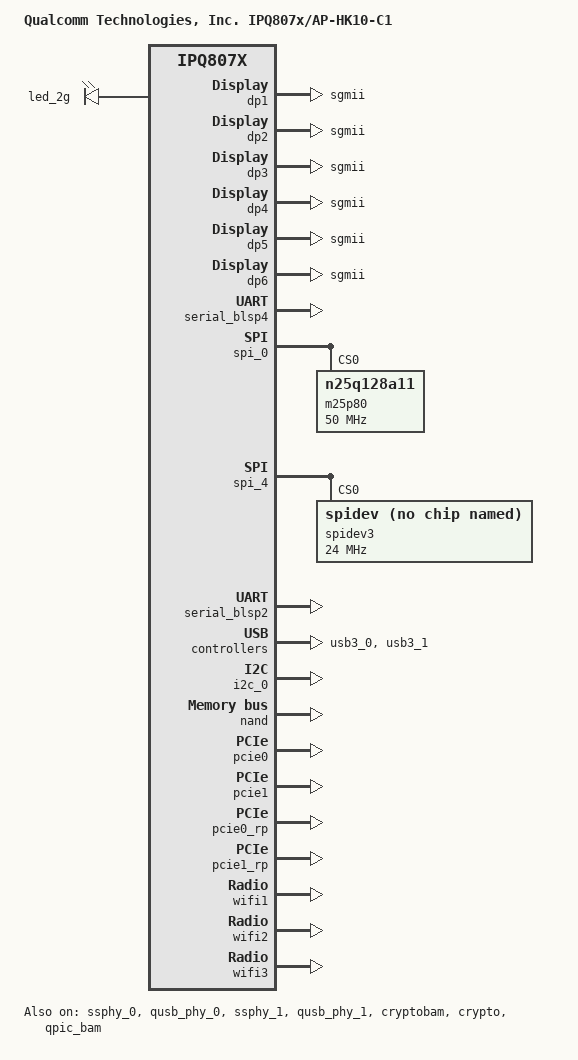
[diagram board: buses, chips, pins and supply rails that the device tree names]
/dts-v1/;
/*
 * Copyright (c) 2017-2020, The Linux Foundation. All rights reserved.
 *
 * Permission to use, copy, modify, and/or distribute this software for any
 * purpose with or without fee is hereby granted, provided that the above
 * copyright notice and this permission notice appear in all copies.
 *
 * THE SOFTWARE IS PROVIDED "AS IS" AND THE AUTHOR DISCLAIMS ALL WARRANTIES
 * WITH REGARD TO THIS SOFTWARE INCLUDING ALL IMPLIED WARRANTIES OF
 * MERCHANTABILITY AND FITNESS. IN NO EVENT SHALL THE AUTHOR BE LIABLE FOR
 * ANY SPECIAL, DIRECT, INDIRECT, OR CONSEQUENTIAL DAMAGES OR ANY DAMAGES
 * WHATSOEVER RESULTING FROM LOSS OF USE, DATA OR PROFITS, WHETHER IN AN
 * ACTION OF CONTRACT, NEGLIGENCE OR OTHER TORTIOUS ACTION, ARISING OUT OF
 * OR IN CONNECTION WITH THE USE OR PERFORMANCE OF THIS SOFTWARE.
 */
#include "qcom-ipq807x-soc.dtsi"
#include "qcom-ipq807x-hk-cpu.dtsi"

/ {
	#address-cells = <0x2>;
	#size-cells = <0x2>;
	model = "Qualcomm Technologies, Inc. IPQ807x/AP-HK10-C1";
	compatible = "qcom,ipq807x-hk10", "qcom,ipq807x";
	qcom,msm-id = <0x185 0x0>;
	interrupt-parent = <&intc>;
	qcom,board-id = <0x8 0x0>;
	qcom,pmic-id = <0x0 0x0 0x0 0x0>;

	aliases {
		/*
		 * Aliases as required by u-boot
		 * to patch MAC addresses
		 */
		ethernet0 = "/soc/dp1";
		ethernet1 = "/soc/dp2";
		ethernet2 = "/soc/dp3";
		ethernet3 = "/soc/dp4";
		ethernet4 = "/soc/dp5";
		ethernet5 = "/soc/dp6";
	};

	chosen {
		bootargs = "console=ttyMSM0,115200,n8 root=/dev/ram0 rw \
			init=/init";
		#ifdef __IPQ_MEM_PROFILE_256_MB__
			bootargs-append = " swiotlb=1";
		#else
			bootargs-append = " swiotlb=1 coherent_pool=2M";
		#endif
	};

	reserved-memory {
/* No Pine attach in 256M profile */
#if !defined(__IPQ_MEM_PROFILE_256_MB__)
#ifdef __IPQ_MEM_PROFILE_512_MB__
	/*                      512 MB Profile
	 * +========+==============+=========================+
	 * | Region | Start Offset |          Size           |
	 * +--------+--------------+-------------------------+
	 * |  NSS   |  0x40000000  |          16MB           |
	 * +--------+--------------+-------------------------+
	 * | Linux  |  0x41000000  | Depends on total memory |
	 * +--------+--------------+-------------------------+
	 * | TZ APP |  0x4A400000  |           1MB           |
	 * +--------+--------------+-------------------------+
	 * | uboot  |  0x4A600000  |           4MB           |
	 * +--------+--------------+-------------------------+
	 * |  SBL   |  0x4AA00000  |           1MB           |
	 * +--------+--------------+-------------------------+
	 * |  smem  |  0x4AB00000  |           1MB           |
	 * +--------+--------------+-------------------------+
	 * |   TZ   |  0x4AC00000  |           4MB           |
	 * +--------+--------------+-------------------------+
	 * |   Q6   |  0x4B000000  |          55MB           |
	 * +--------+--------------+-------------------------+
	 * |  QDSS  |  0x4E700000  |           1MB           |
	 * +--------+--------------+-------------------------+
	 * | M3 Dump|  0x4E800000  |           1MB           |
	 * +--------+--------------+-------------------------+
	 * |  Pine0 |  0x4E900000  |          30MB           |
	 * +--------+--------------+-------------------------+
	 * |  Pine1 |  0x50700000  |          30MB           |
	 * +--------+--------------+-------------------------+
	 * |  MHI0  |  0x52500000  |          16MB           |
	 * +--------+--------------+-------------------------+
	 * |  MHI1  |  0x53500000  |          16MB           |
	 * +--------+--------------+-------------------------+
	 * |                                                 |
	 * |          Rest of the memory for Linux           |
	 * |                                                 |
	 * +=================================================+
	 */
		/delete-node/ wifi_dump@4e900000;
		qcn9000_pcie0@4e900000 {
			no-map;
			reg = <0x0 0x4E900000 0x0 0x01E00000>;
		};

		qcn9000_pcie1@50700000 {
			no-map;
			reg = <0x0 0x50700000 0x0 0x01E00000>;
		};

		mhi_region0: dma_pool0@52500000 {
			compatible = "shared-dma-pool";
			no-map;
			reg = <0x0 0x52500000 0x0 0x01000000>;
		};

		mhi_region1: dma_pool1@53500000 {
			compatible = "shared-dma-pool";
			no-map;
			reg = <0x0 0x53500000 0x0 0x01000000>;
		};
#else
	/*                   Default Profile
	 * +========+==============+=========================+
	 * | Region | Start Offset |          Size           |
	 * +--------+--------------+-------------------------+
	 * |  NSS   |  0x40000000  |          16MB           |
	 * +--------+--------------+-------------------------+
	 * | Linux  |  0x41000000  | Depends on total memory |
	 * +--------+--------------+-------------------------+
	 * | TZ APP |  0x4A400000  |           2MB           |
	 * +--------+--------------+-------------------------+
	 * | uboot  |  0x4A600000  |           4MB           |
	 * +--------+--------------+-------------------------+
	 * |  SBL   |  0x4AA00000  |           1MB           |
	 * +--------+--------------+-------------------------+
	 * |  smem  |  0x4AB00000  |           1MB           |
	 * +--------+--------------+-------------------------+
	 * |   TZ   |  0x4AC00000  |           4MB           |
	 * +--------+--------------+-------------------------+
	 * |   Q6   |  0x4B000000  |          95MB           |
	 * +--------+--------------+-------------------------+
	 * |  QDSS  |  0x50F00000  |           1MB           |
	 * +--------+--------------+-------------------------+
	 * | M3 Dump|  0x51000000  |           1MB           |
	 * +--------+--------------+-------------------------+
	 * |  Pine0 |  0x51100000  |          45MB           |
	 * +--------+--------------+-------------------------+
	 * |  Pine1 |  0x53E00000  |          45MB           |
	 * +--------+--------------+-------------------------+
	 * |  MHI0  |  0x56B00000  |          24MB           |
	 * +--------+--------------+-------------------------+
	 * |  MHI1  |  0x58300000  |          24MB           |
	 * +--------+--------------+-------------------------+
	 * |                                                 |
	 * |          Rest of the memory for Linux           |
	 * |                                                 |
	 * +=================================================+
	 */
		qcn9000_pcie0@51100000 {
			no-map;
			reg = <0x0 0x51100000 0x0 0x02D00000>;
		};

		qcn9000_pcie1@53e00000 {
			no-map;
			reg = <0x0 0x53E00000 0x0 0x02D00000>;
		};
		/delete-node/ wifi_dump@51100000;
		/delete-node/ wigig_dump@51300000;

		mhi_region0: dma_pool0@56b00000 {
			compatible = "shared-dma-pool";
			no-map;
			reg = <0x0 0x56B00000 0x0 0x01800000>;
		};

		mhi_region1: dma_pool1@58300000 {
			compatible = "shared-dma-pool";
			no-map;
			reg = <0x0 0x58300000 0x0 0x01800000>;
		};
#endif
#endif
	};
};

&tlmm {
	pinctrl-0 = <&btcoex_pins>;
	pinctrl-names = "default";

	btcoex_pins: btcoex_pins {
		mux_0 {
			pins = "gpio64";
			function = "pta1_1";
			drive-strength = <6>;
			bias-pull-down;
		};
		mux_1 {
			pins = "gpio65";
			function = "pta1_2";
			drive-strength = <6>;
			bias-pull-down;
		};
		mux_2 {
			pins = "gpio66";
			function = "pta1_0";
			drive-strength = <6>;
			bias-pull-down;
		};
	};

	mdio_pins: mdio_pinmux {
		mux_0 {
			pins = "gpio68";
			function = "mdc";
			drive-strength = <8>;
			bias-pull-up;
		};
		mux_1 {
			pins = "gpio69";
			function = "mdio";
			drive-strength = <8>;
			bias-pull-up;
		};
		mux_2 {
			pins = "gpio25";
			function = "gpio";
			bias-pull-up;
		};
		mux_3 {
			pins = "gpio44";
			function = "gpio";
			bias-pull-up;
		};
	};

	uart_pins: uart_pins {
		mux {
			pins = "gpio23", "gpio24";
			function = "blsp4_uart1";
			drive-strength = <8>;
			bias-disable;
		};
	};

	i2c_0_pins: i2c_0_pinmux {
		mux {
			pins = "gpio42", "gpio43";
			function = "blsp1_i2c";
			drive-strength = <8>;
			bias-disable;
		};
	};

	spi_0_pins: spi_0_pins {
		mux {
			pins = "gpio38", "gpio39", "gpio40", "gpio41";
			function = "blsp0_spi";
			drive-strength = <8>;
			bias-disable;
		};
	};

	spi_3_pins: spi_3_pins {
		mux {
			pins = "gpio50", "gpio52", "gpio53";
			function = "blsp3_spi";
			drive-strength = <8>;
			bias-disable;
		};
		spi_cs {
			pins = "gpio22";
			function = "blsp3_spi2";
			drive-strength = <8>;
			bias-disable;
		};
		quartz_interrupt {
			pins = "gpio47";
			function = "gpio";
			input;
			bias-disable;
		};
		quartz_reset {
			pins = "gpio21";
			function = "gpio";
			output-low;
			bias-disable;
		};
	};

	qpic_pins: qpic_pins {
		data_0 {
			pins = "gpio15";
			function = "qpic_pad0";
			drive-strength = <8>;
			bias-disable;
		};
		data_1 {
			pins = "gpio12";
			function = "qpic_pad1";
			drive-strength = <8>;
			bias-disable;
		};
		data_2 {
			pins = "gpio13";
			function = "qpic_pad2";
			drive-strength = <8>;
			bias-disable;
		};
		data_3 {
			pins = "gpio14";
			function = "qpic_pad3";
			drive-strength = <8>;
			bias-disable;
		};
		data_4 {
			pins = "gpio5";
			function = "qpic_pad4";
			drive-strength = <8>;
			bias-disable;
		};
		data_5 {
			pins = "gpio6";
			function = "qpic_pad5";
			drive-strength = <8>;
			bias-disable;
		};
		data_6 {
			pins = "gpio7";
			function = "qpic_pad6";
			drive-strength = <8>;
			bias-disable;
		};
		data_7 {
			pins = "gpio8";
			function = "qpic_pad7";
			drive-strength = <8>;
			bias-disable;
		};
		qpic_pad {
			pins = "gpio1", "gpio3", "gpio4",
			       "gpio10", "gpio11", "gpio17";
			function = "qpic_pad";
			drive-strength = <8>;
			bias-disable;
		};
	};

	hsuart_pins: hsuart_pins {
		mux {
			pins = "gpio46", "gpio47", "gpio48", "gpio49";
			function = "blsp2_uart";
			drive-strength = <8>;
			bias-disable;
		};
	};

	led_pins: led_pins {
		led_2g {
			pins = "gpio18";
			function = "gpio";
			drive-strength = <8>;
			bias-pull-down;
		};
	};

	usb_mux_sel_pins: usb_mux_pins {
		mux {
			pins = "gpio27";
			function = "gpio";
			drive-strength = <8>;
			bias-pull-down;
		};
	};

	pcie0_pins: pcie_pins {
		pcie0_rst {
			pins = "gpio58";
			function = "pcie0_rst";
			drive-strength = <8>;
			bias-pull-down;
		};
		pcie0_wake {
			pins = "gpio59";
			function = "pcie0_wake";
			drive-strength = <8>;
			bias-pull-down;
		};
	};
	uniphy_pins: uniphy_pinmux {
		mux1 {
			pins = "gpio27";
			function = "gpio";
			drive-strength = <16>;
			output-high;
			bias-pull-up;
		};

		mux2 {
			pins = "gpio60";
			function = "rx2";
			bias-disable;
		};

		sfp_tx {
			pins = "gpio59";
			function = "gpio";
			drive-strength = <8>;
			bias-pull-down;
			output-low;
		};
	};

	button_pins: button_pins {
		wps_button {
			pins = "gpio34";
			function = "gpio";
			drive-strength = <8>;
			bias-pull-up;
		};
	};
};

&soc {
	gpio_keys {
		compatible = "gpio-keys";
		pinctrl-0 = <&button_pins>;
		pinctrl-names = "default";

		button@1 {
			label = "wps";
			linux,code = <KEY_WPS_BUTTON>;
			gpios = <&tlmm 34 GPIO_ACTIVE_LOW>;
			linux,input-type = <1>;
			debounce-interval = <60>;
		};
	};

	mdio: mdio@90000 {
		pinctrl-0 = <&mdio_pins>;
		pinctrl-names = "default";
		phy-reset-gpio = <&tlmm 37 0>;
		phy0: ethernet-phy@0 {
			reg = <0>;
		};
		phy1: ethernet-phy@1 {
			reg = <1>;
		};
		phy2: ethernet-phy@2 {
			reg = <2>;
		};
		phy3: ethernet-phy@3 {
			reg = <3>;
		};
		phy4: ethernet-phy@4 {
			compatible ="ethernet-phy-ieee802.3-c45";
			reg = <7>;
		};
		phy5: ethernet-phy@5 {
			reg = <30>;
		};
	};

	ess-switch@3a000000 {
		pinctrl-0 = <&uniphy_pins>;
		pinctrl-names = "default";
		switch_cpu_bmp = <0x1>;  /* cpu port bitmap */
		switch_lan_bmp = <0x3e>; /* lan port bitmap */
		switch_wan_bmp = <0x40>; /* wan port bitmap */
		switch_mac_mode = <0x0>; /* mac mode for uniphy instance0*/
		switch_mac_mode1 = <0xd>; /* mac mode for uniphy instance1*/
		switch_mac_mode2 = <0xe>; /* mac mode for uniphy instance2*/
		bm_tick_mode = <0>; /* bm tick mode */
		tm_tick_mode = <0>; /* tm tick mode */
		qcom,port_phyinfo {
			port@0 {
				port_id = <1>;
				phy_address = <0>;
			};
			port@1 {
				port_id = <2>;
				phy_address = <1>;
			};
			port@2 {
				port_id = <3>;
				phy_address = <2>;
			};
			port@3 {
				port_id = <4>;
				phy_address = <3>;
			};
			port@4 {
				port_id = <5>;
				phy_address = <7>;
				ethernet-phy-ieee802.3-c45;
			};
			port@5 {
				port_id = <6>;
				phy_address = <30>;
				phy_i2c_address = <30>;
				phy-i2c-mode; /*i2c access phy */
			};
		};
		port_scheduler_resource {
			port@0 {
				port_id = <0>;
				ucast_queue = <0 143>;
				mcast_queue = <256 271>;
				l0sp = <0 35>;
				l0cdrr = <0 47>;
				l0edrr = <0 47>;
				l1cdrr = <0 7>;
				l1edrr = <0 7>;
			};
			port@1 {
				port_id = <1>;
				ucast_queue = <144 159>;
				mcast_queue = <272 275>;
				l0sp = <36 39>;
				l0cdrr = <48 63>;
				l0edrr = <48 63>;
				l1cdrr = <8 11>;
				l1edrr = <8 11>;
			};
			port@2 {
				port_id = <2>;
				ucast_queue = <160 175>;
				mcast_queue = <276 279>;
				l0sp = <40 43>;
				l0cdrr = <64 79>;
				l0edrr = <64 79>;
				l1cdrr = <12 15>;
				l1edrr = <12 15>;
			};
			port@3 {
				port_id = <3>;
				ucast_queue = <176 191>;
				mcast_queue = <280 283>;
				l0sp = <44 47>;
				l0cdrr = <80 95>;
				l0edrr = <80 95>;
				l1cdrr = <16 19>;
				l1edrr = <16 19>;
			};
			port@4 {
				port_id = <4>;
				ucast_queue = <192 207>;
				mcast_queue = <284 287>;
				l0sp = <48 51>;
				l0cdrr = <96 111>;
				l0edrr = <96 111>;
				l1cdrr = <20 23>;
				l1edrr = <20 23>;
			};
			port@5 {
				port_id = <5>;
				ucast_queue = <208 223>;
				mcast_queue = <288 291>;
				l0sp = <52 55>;
				l0cdrr = <112 127>;
				l0edrr = <112 127>;
				l1cdrr = <24 27>;
				l1edrr = <24 27>;
			};
			port@6 {
				port_id = <6>;
				ucast_queue = <224 239>;
				mcast_queue = <292 295>;
				l0sp = <56 59>;
				l0cdrr = <128 143>;
				l0edrr = <128 143>;
				l1cdrr = <28 31>;
				l1edrr = <28 31>;
			};
			port@7 {
				port_id = <7>;
				ucast_queue = <240 255>;
				mcast_queue = <296 299>;
				l0sp = <60 63>;
				l0cdrr = <144 159>;
				l0edrr = <144 159>;
				l1cdrr = <32 35>;
				l1edrr = <32 35>;
			};
		};
		port_scheduler_config {
			port@0 {
				port_id = <0>;
				l1scheduler {
					group@0 {
						sp = <0 1>; /*L0 SPs*/
						/*cpri cdrr epri edrr*/
						cfg = <0 0 0 0>;
					};
				};
				l0scheduler {
					group@0 {
						/*unicast queues*/
						ucast_queue = <0 4 8>;
						/*multicast queues*/
						mcast_queue = <256 260>;
						/*sp cpri cdrr epri edrr*/
						cfg = <0 0 0 0 0>;
					};
					group@1 {
						ucast_queue = <1 5 9>;
						mcast_queue = <257 261>;
						cfg = <0 1 1 1 1>;
					};
					group@2 {
						ucast_queue = <2 6 10>;
						mcast_queue = <258 262>;
						cfg = <0 2 2 2 2>;
					};
					group@3 {
						ucast_queue = <3 7 11>;
						mcast_queue = <259 263>;
						cfg = <0 3 3 3 3>;
					};
				};
			};
			port@1 {
				port_id = <1>;
				l1scheduler {
					group@0 {
						sp = <36>;
						cfg = <0 8 0 8>;
					};
					group@1 {
						sp = <37>;
						cfg = <1 9 1 9>;
					};
				};
				l0scheduler {
					group@0 {
						ucast_queue = <144>;
						ucast_loop_pri = <16>;
						mcast_queue = <272>;
						mcast_loop_pri = <4>;
						cfg = <36 0 48 0 48>;
					};
				};
			};
			port@2 {
				port_id = <2>;
				l1scheduler {
					group@0 {
						sp = <40>;
						cfg = <0 12 0 12>;
					};
					group@1 {
						sp = <41>;
						cfg = <1 13 1 13>;
					};
				};
				l0scheduler {
					group@0 {
						ucast_queue = <160>;
						ucast_loop_pri = <16>;
						mcast_queue = <276>;
						mcast_loop_pri = <4>;
						cfg = <40 0 64 0 64>;
					};
				};
			};
			port@3 {
				port_id = <3>;
				l1scheduler {
					group@0 {
						sp = <44>;
						cfg = <0 16 0 16>;
					};
					group@1 {
						sp = <45>;
						cfg = <1 17 1 17>;
					};
				};
				l0scheduler {
					group@0 {
						ucast_queue = <176>;
						ucast_loop_pri = <16>;
						mcast_queue = <280>;
						mcast_loop_pri = <4>;
						cfg = <44 0 80 0 80>;
					};
				};
			};
			port@4 {
				port_id = <4>;
				l1scheduler {
					group@0 {
						sp = <48>;
						cfg = <0 20 0 20>;
					};
					group@1 {
						sp = <49>;
						cfg = <1 21 1 21>;
					};
				};
				l0scheduler {
					group@0 {
						ucast_queue = <192>;
						ucast_loop_pri = <16>;
						mcast_queue = <284>;
						mcast_loop_pri = <4>;
						cfg = <48 0 96 0 96>;
					};
				};
			};
			port@5 {
				port_id = <5>;
				l1scheduler {
					group@0 {
						sp = <52>;
						cfg = <0 24 0 24>;
					};
					group@1 {
						sp = <53>;
						cfg = <1 25 1 25>;
					};
				};
				l0scheduler {
					group@0 {
						ucast_queue = <208>;
						ucast_loop_pri = <16>;
						mcast_queue = <288>;
						mcast_loop_pri = <4>;
						cfg = <52 0 112 0 112>;
					};
				};
			};
			port@6 {
				port_id = <6>;
				l1scheduler {
					group@0 {
						sp = <56>;
						cfg = <0 28 0 28>;
					};
					group@1 {
						sp = <57>;
						cfg = <1 29 1 29>;
					};
				};
				l0scheduler {
					group@0 {
						ucast_queue = <224>;
						ucast_loop_pri = <16>;
						mcast_queue = <292>;
						mcast_loop_pri = <4>;
						cfg = <56 0 128 0 128>;
					};
				};
			};
			port@7 {
				port_id = <7>;
				l1scheduler {
					group@0 {
						sp = <60>;
						cfg = <0 32 0 32>;
					};
				};
				l0scheduler {
					group@0 {
						ucast_queue = <240>;
						mcast_queue = <296>;
						cfg = <60 0 144 0 144>;
					};
				};
			};
		};
	};

	dp1 {
		device_type = "network";
		compatible = "qcom,nss-dp";
		qcom,id = <1>;
		reg = <0x3a001000 0x200>;
		qcom,mactype = <0>;
		local-mac-address = [000000000000];
		qcom,link-poll = <1>;
		qcom,phy-mdio-addr = <0>;
		phy-mode = "sgmii";
	};

	dp2 {
		device_type = "network";
		compatible = "qcom,nss-dp";
		qcom,id = <2>;
		reg = <0x3a001200 0x200>;
		qcom,mactype = <0>;
		local-mac-address = [000000000000];
		qcom,link-poll = <1>;
		qcom,phy-mdio-addr = <1>;
		phy-mode = "sgmii";
	};

	dp3 {
		device_type = "network";
		compatible = "qcom,nss-dp";
		qcom,id = <3>;
		reg = <0x3a001400 0x200>;
		qcom,mactype = <0>;
		local-mac-address = [000000000000];
		qcom,link-poll = <1>;
		qcom,phy-mdio-addr = <2>;
		phy-mode = "sgmii";
	};

	dp4 {
		device_type = "network";
		compatible = "qcom,nss-dp";
		qcom,id = <4>;
		reg = <0x3a001600 0x200>;
		qcom,mactype = <0>;
		local-mac-address = [000000000000];
		qcom,link-poll = <1>;
		qcom,phy-mdio-addr = <3>;
		phy-mode = "sgmii";
	};

	dp5 {
		device_type = "network";
		compatible = "qcom,nss-dp";
		qcom,id = <5>;
		reg = <0x3a003000 0x3fff>;
		qcom,mactype = <1>;
		local-mac-address = [000000000000];
		qcom,link-poll = <1>;
		qcom,phy-mdio-addr = <7>;
		phy-mode = "sgmii";
	};

	dp6 {
		device_type = "network";
		compatible = "qcom,nss-dp";
		qcom,id = <6>;
		reg = <0x3a007000 0x3fff>;
		qcom,mactype = <1>;
		local-mac-address = [000000000000];
		qcom,link-poll = <1>;
		qcom,phy-mdio-addr = <30>;
		phy-mode = "sgmii";
	};

	leds {
		compatible = "gpio-leds";
		pinctrl-0 = <&led_pins>;
		pinctrl-names = "default";

		led_2g {
			label = "led_2g";
			gpio = <&tlmm 18 GPIO_ACTIVE_HIGH>;
			default-state = "off";
		};
	};
	qcom,test@0 {
		status = "ok";
	};
};

&serial_blsp4 {
	pinctrl-0 = <&uart_pins>;
	pinctrl-names = "default";
	status = "ok";
};

&spi_0 { /* BLSP1 QUP1 */
	pinctrl-0 = <&spi_0_pins>;
	pinctrl-names = "default";
	cs-select = <0>;
	status = "ok";

	m25p80@0 {
		#address-cells = <1>;
		#size-cells = <1>;
		reg = <0>;
		compatible = "n25q128a11";
		linux,modalias = "m25p80", "n25q128a11";
		spi-max-frequency = <50000000>;
		use-default-sizes;
	};
};

&spi_4 { /* BLSP1 QUP3 */
	pinctrl-0 = <&spi_3_pins>;
	pinctrl-names = "default";
	cs-select = <2>;
	quartz-reset-gpio = <&tlmm 21 1>;
	status = "ok";
	spidev3: spi@3 {
		compatible = "qca,spidev";
		reg = <0>;
		spi-max-frequency = <24000000>;
	};
};

&serial_blsp2 {
	status = "disabled";
};

&msm_imem {
	status = "disabled";
};

&ssphy_0 {
	status = "ok";
};

&qusb_phy_0 {
	status = "ok";
};

&ssphy_1 {
	status = "ok";
};

&qusb_phy_1 {
	status = "ok";
};

&usb3_0 {
	status = "ok";
};

&usb3_1 {
	status = "ok";
};

&cryptobam {
	status = "ok";
};

&crypto {
	status = "ok";
};

&i2c_0 {
	pinctrl-0 = <&i2c_0_pins>;
	pinctrl-names = "default";
	status = "ok";
};

&i2c_1 {
	status = "disabled";
};

&qpic_bam {
	status = "ok";
};

&nand {
	pinctrl-0 = <&qpic_pins>;
	pinctrl-names = "default";
	status = "ok";
};

&qpic_lcd {
	status = "disabled";
};

&qpic_lcd_panel {
	status = "disabled";
};

&ledc {
	status = "disabled";
};

&serial_blsp2 {
	pinctrl-0 = <&hsuart_pins>;
	pinctrl-names = "default";
	status = "ok";
};

&pcie0 {
	status = "ok";
};

&pcie1 {
	status = "ok";
};

&pcie0_rp {
	status = "ok";

	mhi_0: qcom,mhi@0 {
		reg = <0 0 0 0 0 >;
		qrtr_instance_id = <0x20>;
		#address-cells = <0x2>;
		#size-cells = <0x2>;
#if !defined(__IPQ_MEM_PROFILE_256_MB__)
		memory-region = <&mhi_region0>;
#endif

#if !defined(__CNSS2__)
		base-addr = <0x51100000>;
		m3-dump-addr = <0x53400000>;
		etr-addr = <0x53500000>;
		qcom,caldb-addr = <0x53600000>;
		mhi,max-channels = <30>;
		mhi,timeout = <10000>;
		qcom,board_id= <0xa4>;

		pcie0_mhi: pcie0_mhi {
			status = "ok";
		};
#endif
	};
};

&pcie1_rp {
	status = "ok";

	mhi_1: qcom,mhi@1 {
		reg = <0 0 0 0 0 >;
		qrtr_instance_id = <0x21>;
		#address-cells = <0x2>;
		#size-cells = <0x2>;
#if !defined(__IPQ_MEM_PROFILE_256_MB__)
		memory-region = <&mhi_region1>;
#endif

#if !defined(__CNSS2__)
		base-addr = <0x53E00000>;
		m3-dump-addr = <0x56100000>;
		etr-addr = <0x56200000>;
		qcom,caldb-addr = <0x56300000>;
		mhi,max-channels = <30>;
		mhi,timeout = <10000>;
		qcom,board_id= <0xa3>;

		pcie1_mhi: pcie1_mhi {
			status = "ok";
		};
#endif
	};
};

&wifi0 {
	status = "disabled";
};

&wifi1 {
	/* hw-mode id 7 belongs to PHYB2G mode
	 */
	wlan-hw-mode =  <7>;
	qcom,board_id = <0x216>;
	status = "ok";
};

/* No support for QCN9000 in 256M profile */
#if !defined(__IPQ_MEM_PROFILE_256_MB__)
&wifi2 {
#ifdef __IPQ_MEM_PROFILE_512_MB__
      /* QCN9000 tgt-mem-mode=1 layout - 30MB
       * +=========+==============+=========+
       * |  Region | Start Offset |   Size  |
       * +---------+--------------+---------+
       * | HREMOTE |  0x4E900000  |   20MB  |
       * +---------+--------------+---------+
       * | M3 Dump |  0x4FD00000  |   1MB   |
       * +---------+--------------+---------+
       * |   ETR   |  0x4FE00000  |   1MB   |
       * +---------+--------------+---------+
       * |  Caldb  |  0x4FF00000  |   8MB   |
       * +==================================+
       */
	base-addr = <0x4E900000>;
	m3-dump-addr = <0x4FD00000>;
	etr-addr = <0x4FE00000>;
	caldb-addr = <0x4FF00000>;
	hremote-size = <0x1400000>;
	tgt-mem-mode = <0x1>;
#else
      /* QCN9000 tgt-mem-mode=0 layout - 45MB
       * +=========+==============+=========+
       * |  Region | Start Offset |   Size  |
       * +---------+--------------+---------+
       * | HREMOTE |  0x51100000  |   35MB  |
       * +---------+--------------+---------+
       * | M3 Dump |  0x53400000  |   1MB   |
       * +---------+--------------+---------+
       * |   ETR   |  0x53500000  |   1MB   |
       * +---------+--------------+---------+
       * |  Caldb  |  0x53600000  |   8MB   |
       * +==================================+
       */
	base-addr = <0x51100000>;
	m3-dump-addr = <0x53400000>;
	etr-addr = <0x53500000>;
	caldb-addr = <0x53600000>;
	hremote-size = <0x2300000>;
	tgt-mem-mode = <0x0>;
#endif
	caldb-size = <0x800000>;
	board_id = <0xa4>;
	status = "ok";
#if defined(__CNSS2__)
	pcie0_mhi: pcie0_mhi {
		status = "ok";
	};
#endif
};

&wifi3 {
#ifdef __IPQ_MEM_PROFILE_512_MB__
      /* QCN9000 tgt-mem-mode=1 layout - 30MB
       * +=========+==============+=========+
       * |  Region | Start Offset |   Size  |
       * +---------+--------------+---------+
       * | HREMOTE |  0x50700000  |   20MB  |
       * +---------+--------------+---------+
       * | M3 Dump |  0x51B00000  |   1MB   |
       * +---------+--------------+---------+
       * |   ETR   |  0x51C00000  |   1MB   |
       * +---------+--------------+---------+
       * |  Caldb  |  0x51D00000  |   8MB   |
       * +==================================+
       */
	base-addr = <0x50700000>;
	m3-dump-addr = <0x51B00000>;
	etr-addr = <0x51C00000>;
	caldb-addr = <0x51D00000>;
	hremote-size = <0x1400000>;
	tgt-mem-mode = <0x1>;
#else
      /* QCN9000 tgt-mem-mode=0 layout - 45MB
       * +=========+==============+=========+
       * |  Region | Start Offset |   Size  |
       * +---------+--------------+---------+
       * | HREMOTE |  0x53E00000  |   35MB  |
       * +---------+--------------+---------+
       * | M3 Dump |  0x56100000  |   1MB   |
       * +---------+--------------+---------+
       * |   ETR   |  0x56200000  |   1MB   |
       * +---------+--------------+---------+
       * |  Caldb  |  0x56300000  |   8MB   |
       * +==================================+
       */
	base-addr = <0x53E00000>;
	m3-dump-addr = <0x56100000>;
	etr-addr = <0x56200000>;
	caldb-addr = <0x56300000>;
	hremote-size = <0x2300000>;
	tgt-mem-mode = <0x0>;
#endif
	caldb-size = <0x800000>;
	board_id = <0xa3>;
	status = "ok";
#if defined(__CNSS2__)
	pcie1_mhi: pcie1_mhi {
		status = "ok";
	};
#endif
};

#include "qcom-ipq807x-mhi.dtsi"
#endif
